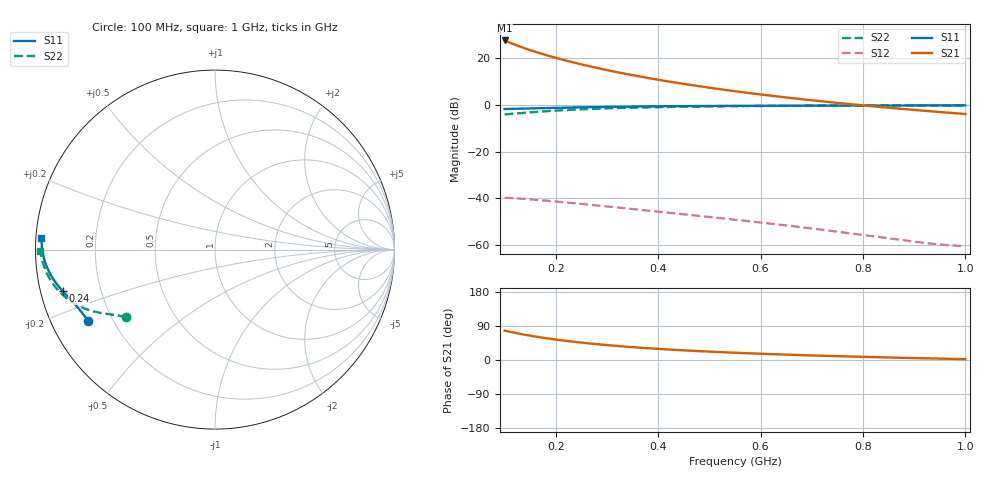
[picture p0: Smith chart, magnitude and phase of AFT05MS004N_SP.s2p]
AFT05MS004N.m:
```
%
% Small-signal matching of the AFT05MS004N MOSFET PA at 915 MHz
%
% Input is high-pass L-match, and 220ohm degeneration for stability
% Output is dual low-pass L-match
%

% port impedance
Z0 = 50;

% common functions
addpath("../RFlib")

transistor = touchstoneread('AFT05MS004N_SP.s2p');
ts = transistor;

for fp = 1:length(ts.points)
    f = ts.points(fp).f;

    M = ShuntImpedanceMatrix(9e19); % Initial BS

    % L input match, DC block (also blocking lower frequenies)
    M = M * SeriesImpedanceMatrix(CapacitorImpedance(2.2e-12, f));
    
    % L input match
    M = M * ShuntImpedanceMatrix(InductorImpedance(6.3e-9, f));

    % Input shunt degeneration for stability (also DC bias)
    M = M * ShuntImpedanceMatrix(220.0);

    % The transistor S-parameter block
    M = M * s2abcd(transistor.points(fp).S, Z0);

    % load inductor (Vdd supply)
    M = M * ShuntImpedanceMatrix(InductorImpedance(10e-9, f));

    % DC block (also blocks lower frequencies)
%    M = M * SeriesImpedanceMatrix(CapacitorImpedance(0.6e-12, f));

    % This resonates out the output impedance to real value (~2.2ohm)
%    M = M * SeriesImpedanceMatrix(InductorImpedance(10.883e-9, f));

    % Dual, broadband low-pass L-match
%    M = M * SeriesImpedanceMatrix(InductorImpedance(0.72e-9, f));
%    M = M * ShuntImpedanceMatrix(CapacitorImpedance(32.75e-12, f));

%    M = M * SeriesImpedanceMatrix(InductorImpedance(3.48e-9, f));
%    M = M * ShuntImpedanceMatrix(CapacitorImpedance(6.96e-12, f));

    S = abcd2s(M, Z0);
    f
    K = rollet(S)
    gamma = conjmatch(S(1,1), S(2,2), S)

    ts.points(fp).S = abcd2s(M, Z0);
end


plot2ports(ts, 164)


pause()
```
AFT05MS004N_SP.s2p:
! Copyright - Freescale Semiconductor, Inc., 2014
! 07/17/2014
! Rev.0
! AFT05MS004NT1 S-Parameters
! VDD = 7.5V, IDQ = 400mA
# hz S ma R 50
! freq  magS11  angS11  magS21  angS21  magS12  angS12  magS22  angS22
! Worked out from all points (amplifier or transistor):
!   181 points, 100 MHz to 1 GHz, reference 50 ohm
!   highest |S21| = 27.5 dB at 100 MHz (marker M1)
!   |S21| within 3 dB of that: start of sweep to 134.9 MHz
!   unconditionally stable (mu >= 1): 827.4 MHz to end of sweep
!   at 250 MHz: K = 0.13, MSG = 29.8 dB, |S12| = -42.4 dB
!   at 550 MHz: K = 0.38, MSG = 27.4 dB, |S12| = -49.1 dB
!   at 1 GHz: K = 1.70, MAG = 23.3 dB, |S12| = -60.4 dB
!   S11 on the Smith chart (normalised r, x): 100 MHz: 0.11, -0.26; 240 MHz: 0.07, -0.13; 1 GHz: 0.02, +0.03
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1e8  0.8107 -150.7  23.63 77.6  0.01036 -9.8  0.6213 -142.7
1.1e8  0.8148 -152.7  21.24 74.5  0.01022 -12.6  0.6348 -144.2
1.25e8  0.8218 -155.1  18.32 70.3  0.009986 -16.4  0.6553 -146.0
1.55e8  0.8374 -158.6  14.09 63.0  0.009451 -22.9  0.6957 -148.9
1.95e8  0.8582 -161.9  10.41 54.9  0.008677 -30.0  0.7448 -152.1
2.4e8  0.8792 -164.7  7.746 47.4  0.007806 -36.2  0.7912 -155.3
2.95e8  0.9 -167.4  5.652 39.9  0.006812 -42.0  0.8354 -158.7
3.6e8  0.9185 -170.0  4.088 32.9  0.005773 -46.9  0.8733 -162.2
4.4e8  0.9344 -172.7  2.899 26.2  0.004695 -50.7  0.9051 -165.7
5.5e8  0.9484 -175.6  1.946 19.1  0.003504 -52.9  0.9326 -169.6
1e9  0.9694 176.3  0.6345 2.2  0.0009535 -1.5  0.9731 -179.5
